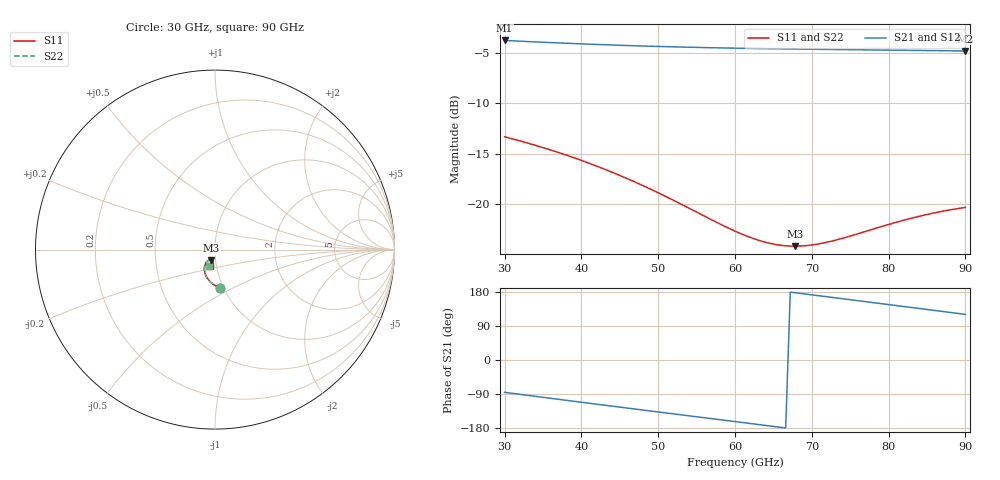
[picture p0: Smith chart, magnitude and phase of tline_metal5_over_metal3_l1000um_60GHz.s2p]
#  GHZ S DB R 50
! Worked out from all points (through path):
!   101 points, 30 GHz to 90 GHz, reference 50 ohm
!   highest |S21| = -3.79 dB at 30 GHz (marker M1); lowest = -4.8 dB at 90 GHz (marker M2)
!   group delay of S21, straight-line fit = 7.12 ps
!   lowest |S11| = -24.2 dB at 67.8 GHz (marker M3), VSWR 1.13, Z = 47.7 - j5.62 ohm
!   |S11| at or under -10 dB: start of sweep to end of sweep
!   |S22| runs from -24.1 to -13.3 dB; largest |S21 - S12| = 6.7e-14
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30  -13.34 -82.3  -3.79 -85.3  -3.79 -85.3  -13.33 -82.3
32.4  -13.83 -88.1  -3.88 -91.7  -3.88 -91.7  -13.81 -88.2
34.8  -14.36 -93.7  -3.96 -98.0  -3.96 -98.0  -14.34 -93.8
37.2  -14.93 -99.1  -4.04 -104.2  -4.04 -104.2  -14.92 -99.2
40.2  -15.73 -105.3  -4.14 -112.0  -4.14 -112.0  -15.70 -105.5
45  -17.16 -114.1  -4.27 -124.3  -4.27 -124.3  -17.13 -114.3
48  -18.16 -118.5  -4.34 -132.0  -4.34 -132.0  -18.12 -118.7
50.4  -19.02 -121.3  -4.39 -138.1  -4.39 -138.1  -18.98 -121.6
55.2  -20.86 -124.2  -4.48 -150.3  -4.48 -150.3  -20.81 -124.6
57.6  -21.79 -123.9  -4.52 -156.4  -4.52 -156.4  -21.73 -124.4
60  -22.67 -122.2  -4.56 -162.5  -4.56 -162.5  -22.61 -122.9
62.4  -23.41 -119.1  -4.59 -168.6  -4.59 -168.6  -23.35 -119.9
64.2  -23.82 -116.0  -4.61 -173.2  -4.61 -173.2  -23.77 -116.9
66  -24.07 -112.5  -4.63 -177.8  -4.63 -177.8  -24.04 -113.5
67.8  -24.16 -108.9  -4.64 177.6  -4.64 177.6  -24.14 -109.9
70.2  -24.02 -104.4  -4.67 171.4  -4.67 171.4  -24.03 -105.5
72.6  -23.66 -101.1  -4.69 165.3  -4.69 165.3  -23.68 -102.1
75  -23.16 -99.0  -4.71 159.1  -4.71 159.1  -23.20 -100.1
77.4  -22.61 -98.3  -4.73 152.9  -4.73 152.9  -22.66 -99.3
80.4  -21.93 -98.9  -4.75 145.2  -4.75 145.2  -21.99 -99.8
85.2  -20.99 -102.6  -4.79 132.8  -4.79 132.8  -21.07 -103.5
90  -20.33 -108.4  -4.84 120.4  -4.84 120.4  -20.41 -109.2
